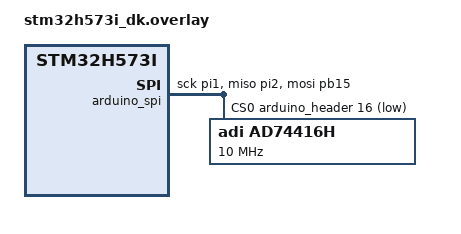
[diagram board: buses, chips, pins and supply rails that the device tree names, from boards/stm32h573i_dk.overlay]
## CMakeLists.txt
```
# Copyright (c) 2026 Terraflow Energy Europe
# SPDX-License-Identifier: Apache-2.0

cmake_minimum_required(VERSION 3.20.0)
find_package(Zephyr REQUIRED HINTS $ENV{ZEPHYR_BASE})
project(ad74416h)

target_sources(app PRIVATE src/main.c)
```

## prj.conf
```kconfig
CONFIG_SPI=y
CONFIG_GPIO=y
CONFIG_ADC=y
CONFIG_DAC=y
CONFIG_LOG=y
```

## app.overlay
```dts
/*
 * Copyright (c) 2026 Terraflow Energy Europe
 *
 * SPDX-License-Identifier: Apache-2.0
 *
 * Channel configuration for the AD74416H described by the shield or board.
 */

#include <zephyr/dt-bindings/mfd/ad74416h.h>

&ad74416h {
	adi,diag-assign = <AD74416H_DIAG_TEMP AD74416H_DIAG_AVDD_HI
			   AD74416H_DIAG_AVCC AD74416H_DIAG_DVCC>;

	/* Channel A: voltage input, 0 V to 12 V */
	channel@0 {
		reg = <0>;
		adi,ch-func = <AD74416H_CH_FUNC_VIN>;
	};

	/* Channel B: voltage output, 0 V to 12 V, set by main.c */
	channel@1 {
		reg = <1>;
		adi,ch-func = <AD74416H_CH_FUNC_VOUT>;
	};
};
```

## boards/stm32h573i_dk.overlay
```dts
/*
 * Copyright (c) 2026 Terraflow Energy Europe
 *
 * SPDX-License-Identifier: Apache-2.0
 *
 * EV-AD74416H-ARDZ on the Arduino header of the STM32H573I-DK.
 *
 * SYNC is on D10, driven as a GPIO chip select so it rises after every
 * 40-bit frame. RESET, ALERT and ADC_RDY are not wired here: check the
 * evaluation board user guide for their header pins and add reset-gpios,
 * alert-gpios and adc-rdy-gpios.
 */

#include <zephyr/dt-bindings/mfd/ad74416h.h>

&arduino_spi {
	/* Hardware NSS is replaced by a GPIO chip select on the same pin */
	pinctrl-0 = <&spi2_sck_pi1 &spi2_miso_pi2 &spi2_mosi_pb15>;
	cs-gpios = <&arduino_header 16 GPIO_ACTIVE_LOW>; /* D10 */
	status = "okay";

	ad74416h: ad74416h@0 {
		compatible = "adi,ad74416h";
		reg = <0>;
		spi-max-frequency = <DT_FREQ_M(10)>;
		adi,diag-assign = <AD74416H_DIAG_TEMP AD74416H_DIAG_AVDD_HI
				   AD74416H_DIAG_AVCC AD74416H_DIAG_DVCC>;

		#address-cells = <1>;
		#size-cells = <0>;

		/* Channel A: voltage input, 0 V to 12 V */
		channel@0 {
			reg = <0>;
			adi,ch-func = <AD74416H_CH_FUNC_VIN>;
		};

		/* Channel B: voltage output, 0 V to 12 V, set by main.c */
		channel@1 {
			reg = <1>;
			adi,ch-func = <AD74416H_CH_FUNC_VOUT>;
		};

		ad74416h_adc: adc {
			compatible = "adi,ad74416h-adc";
			#io-channel-cells = <1>;
		};

		ad74416h_gpio: gpio {
			compatible = "adi,ad74416h-gpio";
			gpio-controller;
			#gpio-cells = <2>;
		};

		ad74416h_dac: dac {
			compatible = "adi,ad74416h-dac";
			#io-channel-cells = <1>;
		};
	};
};
```

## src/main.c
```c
/*
 * Copyright (c) 2026 Terraflow Energy Europe
 *
 * SPDX-License-Identifier: Apache-2.0
 *
 * AD74416H sample: drives 5 V on channel B through the DAC API, then reads
 * channel A and the die temperature and supplies once a second.
 */

#include <zephyr/device.h>
#include <zephyr/drivers/dac.h>
#include <zephyr/kernel.h>
#include <zephyr/logging/log.h>

#include <zephyr/drivers/mfd/ad74416h.h>

LOG_MODULE_REGISTER(main, LOG_LEVEL_INF);

static const struct device *const ad = DEVICE_DT_GET(DT_NODELABEL(ad74416h));
static const struct device *const dac = DEVICE_DT_GET(DT_NODELABEL(ad74416h_dac));

/* Diagnostic slots, as assigned in the overlay */
static const uint8_t diags[] = {AD74416H_DIAG_TEMP, AD74416H_DIAG_AVDD_HI, AD74416H_DIAG_AVCC,
				AD74416H_DIAG_DVCC};
static const char *const diag_names[] = {"temp", "AVDD_HI", "AVCC", "DVCC"};

int main(void)
{
	struct dac_channel_cfg dac_cfg = {.channel_id = 1, .resolution = 16};
	uint32_t results[8];
	uint16_t code;
	uint8_t range;
	int ret;

	if (!device_is_ready(ad) || !device_is_ready(dac)) {
		LOG_ERR("AD74416H not ready, check wiring and supplies");
		return 0;
	}

	ret = ad74416h_dac_uv_to_code(false, 5000000, &code);
	if (ret == 0) {
		ret = dac_channel_setup(dac, &dac_cfg);
	}
	if (ret == 0) {
		ret = dac_write_value(dac, 1, code);
	}
	if (ret != 0) {
		LOG_ERR("Setting channel B failed: %d", ret);
	}

	ret = ad74416h_adc_range_get(ad, 0, &range);
	if (ret != 0) {
		LOG_ERR("Reading channel A range failed: %d", ret);
		return 0;
	}

	while (true) {
		ret = ad74416h_adc_convert(ad, BIT(0), BIT_MASK(4), results, K_SECONDS(1));
		if (ret != 0) {
			LOG_ERR("Conversion failed: %d", ret);
		} else {
			LOG_INF("Channel A: %lld uV",
				ad74416h_adc_code_to_nv(range, results[0]) / 1000);
			for (int d = 0; d < ARRAY_SIZE(diags); d++) {
				LOG_INF("%s: %lld %s", diag_names[d],
					ad74416h_diag_code_to_value(diags[d], results[4 + d], 0),
					diags[d] == AD74416H_DIAG_TEMP ? "mdegC" : "uV");
			}
		}

		k_sleep(K_SECONDS(1));
	}

	return 0;
}
```
